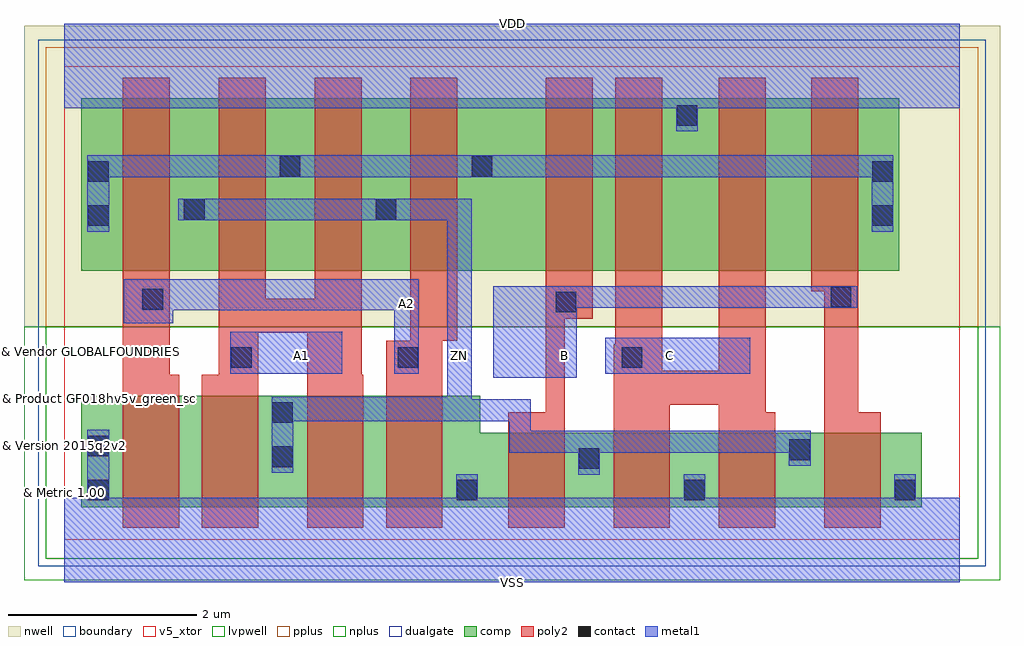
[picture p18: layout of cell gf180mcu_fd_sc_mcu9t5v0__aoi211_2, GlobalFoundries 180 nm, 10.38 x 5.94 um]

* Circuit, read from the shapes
.subckt gf180mcu_fd_sc_mcu9t5v0__aoi211_2 A1 A2 B C VDD VSS ZN
XM1 n1 A2 VSS VSUBS nfet_05v0 w=1.185u l=0.6u
XM2 ZN A1 n1 VSUBS nfet_05v0 w=1.185u l=0.6u
XM3 n2 A1 ZN VSUBS nfet_05v0 w=1.185u l=0.6u
XM4 VSS A2 n2 VSUBS nfet_05v0 w=1.185u l=0.6u
XM5 ZN B VSS VSUBS nfet_05v0 w=0.79u l=0.6u m=2
XM6 VSS C ZN VSUBS nfet_05v0 w=0.79u l=0.6u m=2
XM7 ZN A2 n3 n4 pfet_05v0 w=1.83u l=0.5u m=2
XM8 n3 A1 ZN n4 pfet_05v0 w=1.83u l=0.5u m=2
XM9 n5 B n3 n4 pfet_05v0 w=1.83u l=0.5u
XM10 VDD C n5 n4 pfet_05v0 w=1.83u l=0.5u
XM11 n6 C VDD n4 pfet_05v0 w=1.83u l=0.5u
XM12 n3 B n6 n4 pfet_05v0 w=1.83u l=0.5u
.ends

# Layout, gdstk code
import gdstk
lib = gdstk.Library(unit=1e-6, precision=1e-09)
def R(c, l, rs):  # rectangles x0, y0, x1, y1
    for r in rs: c.add(gdstk.rectangle(r[:2], r[2:], *l))
def P(c, l, *ps):  # polygons
    for p in ps: c.add(gdstk.Polygon(p, *l))
boundary = (0, 0)
nwell = (21, 0)
comp = (22, 0)
poly2 = (30, 0)
pplus = (31, 0)
nplus = (32, 0)
contact = (33, 0)
metal1 = (34, 0)
dualgate = (55, 0)
v5_xtor = (112, 1)
lvpwell = (204, 0)

gf180mcu_fd_sc_mcu9t5v0_ = lib.new_cell('gf180mcu_fd_sc_mcu9t5v0__aoi211_2')
R(gf180mcu_fd_sc_mcu9t5v0_, boundary, [(0,0,9.52,5.04)])
R(gf180mcu_fd_sc_mcu9t5v0_, nwell, [(-0.43,2.265,9.95,5.47)])
R(gf180mcu_fd_sc_mcu9t5v0_, comp, [(0.18,2.865,8.88,4.695)])
P(gf180mcu_fd_sc_mcu9t5v0_, comp, [(0.18,0.35),(0.18,1.535),(4.42,1.535),(4.42,1.14),(9.12,1.14),(9.12,0.35)])
P(gf180mcu_fd_sc_mcu9t5v0_, poly2, [(0.62,0.13),(0.62,4.915),(1.12,4.915),(1.12,1.755),(1.22,1.755),(1.22,0.13)],
  [(1.46,0.13),(1.46,1.755),(1.64,1.755),(1.64,4.915),(2.14,4.915),(2.14,2.565),(2.66,2.565),(2.66,4.915),(3.16,4.915),(3.16,1.755),(3.18,1.755),(3.18,0.13),(2.58,0.13),(2.58,2.205),(2.06,2.205),(2.06,0.13)],
  [(3.42,0.13),(3.42,2.12),(3.68,2.12),(3.68,4.915),(4.18,4.915),(4.18,2.12),(4.02,2.12),(4.02,0.13)],
  [(4.72,0.13),(4.72,1.36),(5.12,1.36),(5.12,4.915),(5.62,4.915),(5.62,2.35),(5.32,2.35),(5.32,0.13)],
  [(5.84,0.13),(5.84,2.08),(5.86,2.08),(5.86,4.915),(6.36,4.915),(6.36,1.8),(6.96,1.8),(6.96,4.915),(7.46,4.915),(7.46,1.36),(7.56,1.36),(7.56,0.13),(6.96,0.13),(6.96,1.44),(6.44,1.44),(6.44,0.13)],
  [(8.08,0.13),(8.08,2.645),(7.94,2.645),(7.94,4.915),(8.44,4.915),(8.44,1.36),(8.68,1.36),(8.68,0.13)])
R(gf180mcu_fd_sc_mcu9t5v0_, pplus, [(-0.2,2.265,9.72,5.24)])
R(gf180mcu_fd_sc_mcu9t5v0_, nplus, [(-0.2,-0.2,9.72,2.265)])
R(gf180mcu_fd_sc_mcu9t5v0_, contact, [(0.25,0.42,0.47,0.64), (4.17,0.42,4.39,0.64), (6.59,0.42,6.81,0.64), (8.83,0.42,9.05,0.64), (5.47,0.755,5.69,0.975), (2.21,0.775,2.43,0.995), (7.71,0.85,7.93,1.07), (0.25,0.89,0.47,1.11), (2.21,1.245,2.43,1.465), (1.77,1.83,1.99,2.05), (3.545,1.83,3.765,2.05), (5.925,1.83,6.145,2.05), (5.225,2.42,5.445,2.64), (0.83,2.45,1.05,2.67), (8.15,2.475,8.37,2.695), (0.25,3.34,0.47,3.56), (8.59,3.34,8.81,3.56), (1.27,3.405,1.49,3.625), (3.31,3.405,3.53,3.625), (0.25,3.81,0.47,4.03), (8.59,3.81,8.81,4.03), (2.29,3.865,2.51,4.085), (4.33,3.865,4.55,4.085), (6.51,4.405,6.73,4.625)])
R(gf180mcu_fd_sc_mcu9t5v0_, metal1, [(1.765,1.77,2.955,2.215), (5.75,1.77,7.295,2.15)])
P(gf180mcu_fd_sc_mcu9t5v0_, metal1, [(3.51,1.77),(3.51,2.445),(1.155,2.445),(1.155,2.305),(0.63,2.305),(0.63,2.775),(3.77,2.775),(3.77,1.77)],
  [(5.465,0.695),(5.465,0.93),(4.73,0.93),(4.73,1.265),(2.435,1.265),(2.435,0.715),(2.205,0.715),(2.205,1.525),(4.07,1.525),(4.07,3.4),(1.21,3.4),(1.21,3.63),(4.33,3.63),(4.33,1.495),(4.96,1.495),(4.96,1.16),(7.935,1.16),(7.935,0.79),(7.705,0.79),(7.705,0.93),(5.695,0.93),(5.695,0.695)],
  [(4.56,1.725),(4.56,2.7),(8.43,2.7),(8.43,2.47),(5.45,2.47),(5.45,1.725)],
  [(0.245,3.28),(0.245,4.09),(8.815,4.09),(8.815,3.28),(8.585,3.28),(8.585,3.86),(0.475,3.86),(0.475,3.28)],
  [(0,-0.45),(0,0.45),(0.245,0.45),(0.245,1.17),(0.475,1.17),(0.475,0.45),(4.165,0.45),(4.165,0.7),(4.395,0.7),(4.395,0.45),(6.585,0.45),(6.585,0.7),(6.815,0.7),(6.815,0.45),(8.825,0.45),(8.825,0.7),(9.055,0.7),(9.055,0.45),(9.52,0.45),(9.52,-0.45)],
  [(6.505,4.345),(6.505,4.59),(0,4.59),(0,5.49),(9.52,5.49),(9.52,4.59),(6.735,4.59),(6.735,4.345)])
R(gf180mcu_fd_sc_mcu9t5v0_, dualgate, [(-0.28,-0.28,9.8,5.32)])
R(gf180mcu_fd_sc_mcu9t5v0_, v5_xtor, [(0,0,9.52,5.04)])
R(gf180mcu_fd_sc_mcu9t5v0_, lvpwell, [(-0.43,-0.43,9.95,2.265)])
gf180mcu_fd_sc_mcu9t5v0_.add(gdstk.Label('A1', (2.52,1.96), layer=34, texttype=10))
gf180mcu_fd_sc_mcu9t5v0_.add(gdstk.Label('A2', (3.64,2.52), layer=34, texttype=10))
gf180mcu_fd_sc_mcu9t5v0_.add(gdstk.Label('B', (5.32,1.96), layer=34, texttype=10))
gf180mcu_fd_sc_mcu9t5v0_.add(gdstk.Label('C', (6.44,1.96), layer=34, texttype=10))
gf180mcu_fd_sc_mcu9t5v0_.add(gdstk.Label('VDD', (4.76,5.49), layer=34, texttype=10))
gf180mcu_fd_sc_mcu9t5v0_.add(gdstk.Label('VSS', (4.76,-0.45), layer=34, texttype=10))
gf180mcu_fd_sc_mcu9t5v0_.add(gdstk.Label('ZN', (4.2,1.96), layer=34, texttype=10))
gf180mcu_fd_sc_mcu9t5v0_.add(gdstk.Label('& Vendor GLOBALFOUNDRIES', (0,2), layer=63, texttype=63))
gf180mcu_fd_sc_mcu9t5v0_.add(gdstk.Label('& Product GF018hv5v_green_sc9', (0,1.5), layer=63, texttype=63))
gf180mcu_fd_sc_mcu9t5v0_.add(gdstk.Label('& Version 2015q2v2', (0,1), layer=63, texttype=63))
gf180mcu_fd_sc_mcu9t5v0_.add(gdstk.Label('& Metric 1.00', (0,0.5), layer=63, texttype=63))

lib.write_gds('gf180mcu_fd_sc_mcu9t5v0__aoi211_2.gds')
